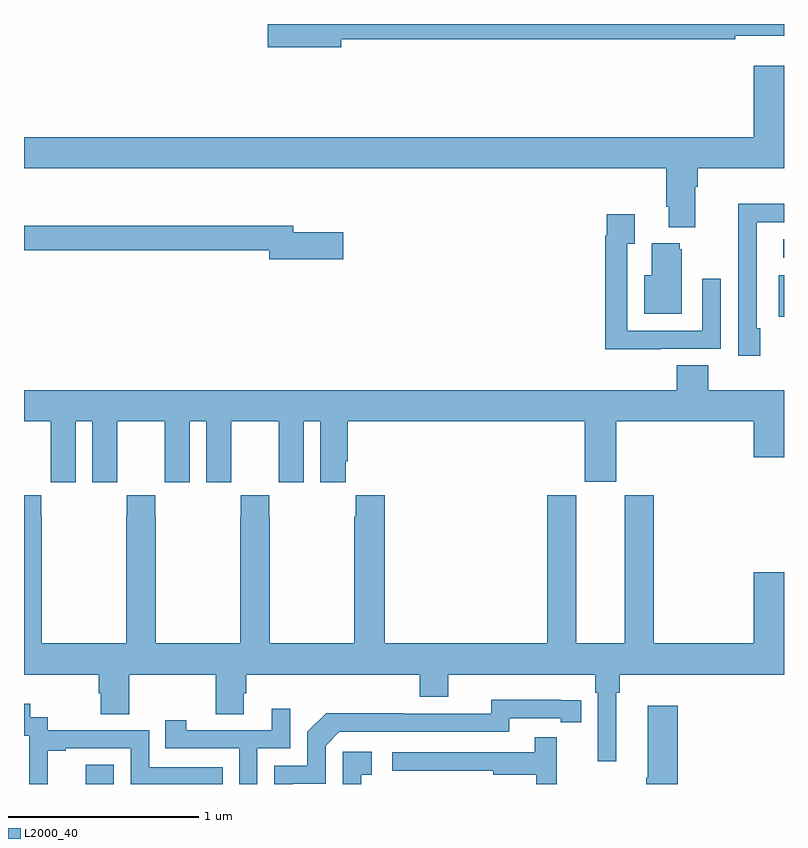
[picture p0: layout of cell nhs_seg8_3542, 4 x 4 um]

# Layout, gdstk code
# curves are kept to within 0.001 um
import gdstk
lib = gdstk.Library(unit=1e-6, precision=1e-09)
def R(c, l, rs):  # rectangles x0, y0, x1, y1
    for r in rs: c.add(gdstk.rectangle(r[:2], r[2:], *l))
def P(c, l, *ps):  # polygons
    for p in ps: c.add(gdstk.Polygon(p, *l))
L2000_40 = (2000, 40)

nhs_seg8_3542 = lib.new_cell('nhs_seg8_3542')
R(nhs_seg8_3542, L2000_40, [(329.325,1139.9,329.472,1140.001), (332.972,1142.359,333,1142.578), (332.997,1142.67,333,1142.766)])
P(nhs_seg8_3542, L2000_40, [(330.67,1143.82),(332.744,1143.82),(332.744,1143.839),(333,1143.839),(333,1143.9),(330.282,1143.9),(330.282,1143.778),(330.67,1143.778)],
  [(332.533,1143.044),(332.546,1143.044),(332.546,1143.14),(333,1143.14),(333,1143.679),(332.84,1143.679),(332.84,1143.304),(329,1143.304),(329,1143.14),(332.381,1143.14),(332.381,1142.938),(332.393,1142.938),(332.393,1142.831),(332.533,1142.831)],
  [(332.875,1142.298),(332.856,1142.298),(332.856,1142.856),(333,1142.856),(333,1142.954),(332.758,1142.954),(332.758,1142.647),(332.76,1142.647),(332.76,1142.154),(332.875,1142.154)],
  [(332.351,1142.19),(332.667,1142.19),(332.667,1142.56),(332.571,1142.56),(332.571,1142.286),(332.175,1142.286),(332.175,1142.743),(332.215,1142.743),(332.215,1142.899),(332.067,1142.899),(332.067,1142.786),(332.059,1142.786),(332.059,1142.189),(332.351,1142.189)],
  [(330.679,1142.805),(330.418,1142.805),(330.418,1142.839),(329,1142.839),(329,1142.71),(330.29,1142.71),(330.29,1142.663),(330.679,1142.663)],
  [(332.461,1142.715),(332.45,1142.715),(332.45,1142.746),(332.303,1142.746),(332.303,1142.578),(332.264,1142.578),(332.264,1142.375),(332.461,1142.375)],
  [(329.272,1141.808),(329.36,1141.808),(329.36,1141.488),(329.49,1141.488),(329.49,1141.6),(329.491,1141.6),(329.491,1141.808),(329.741,1141.808),(329.741,1141.6),(329.742,1141.6),(329.742,1141.488),(329.872,1141.488),(329.872,1141.808),(329.96,1141.808),(329.96,1141.488),(330.09,1141.488),(330.09,1141.6),(330.091,1141.6),(330.091,1141.808),(330.341,1141.808),(330.341,1141.6),(330.342,1141.6),(330.342,1141.488),(330.472,1141.488),(330.472,1141.808),(330.56,1141.808),(330.56,1141.488),(330.694,1141.488),(330.694,1141.6),(330.704,1141.6),(330.704,1141.808),(331.952,1141.808),(331.952,1141.491),(332.116,1141.491),(332.116,1141.808),(332.84,1141.808),(332.84,1141.62),(333,1141.62),(333,1141.972),(332.6,1141.972),(332.6,1142.105),(332.435,1142.105),(332.435,1141.972),(329,1141.972),(329,1141.808),(329.141,1141.808),(329.141,1141.6),(329.142,1141.6),(329.142,1141.488),(329.272,1141.488)],
  [(332.116,1140.38),(332.135,1140.38),(332.135,1140.476),(333,1140.476),(333,1141.015),(332.84,1141.015),(332.84,1140.64),(332.315,1140.64),(332.315,1141.419),(332.162,1141.419),(332.162,1140.64),(331.906,1140.64),(331.906,1141.419),(331.754,1141.419),(331.754,1140.64),(330.899,1140.64),(330.899,1141.42),(330.745,1141.42),(330.745,1141.307),(330.739,1141.307),(330.739,1140.64),(330.294,1140.64),(330.294,1141.307),(330.291,1141.307),(330.291,1141.42),(330.141,1141.42),(330.141,1141.307),(330.139,1141.307),(330.139,1140.64),(329.694,1140.64),(329.694,1141.307),(329.691,1141.307),(329.691,1141.42),(329.541,1141.42),(329.541,1141.307),(329.539,1141.307),(329.539,1140.64),(329.094,1140.64),(329.094,1141.307),(329.091,1141.307),(329.091,1141.42),(329,1141.42),(329,1140.476),(329.393,1140.476),(329.393,1140.378),(329.405,1140.378),(329.405,1140.268),(329.553,1140.268),(329.553,1140.476),(330.01,1140.476),(330.01,1140.268),(330.157,1140.268),(330.157,1140.378),(330.17,1140.378),(330.17,1140.476),(331.082,1140.476),(331.082,1140.359),(331.234,1140.359),(331.234,1140.476),(332.006,1140.476),(332.006,1140.38),(332.019,1140.38),(332.019,1140.021),(332.116,1140.021)],
  [(330.415,1139.901),(330.588,1139.901),(330.588,1140.102),(330.66,1140.174),(331.554,1140.174),(331.554,1140.246),(331.826,1140.246),(331.826,1140.226),(331.934,1140.226),(331.934,1140.342),(331.458,1140.343),(331.458,1140.27),(330.998,1140.27),(330.998,1140.272),(330.59,1140.272),(330.492,1140.174),(330.492,1139.997),(330.318,1139.997),(330.318,1139.9)],
  [(329.126,1140.075),(329.221,1140.075),(329.221,1140.087),(329.562,1140.087),(329.562,1139.9),(330.047,1139.9),(330.047,1139.988),(329.658,1139.988),(329.658,1140.183),(329.124,1140.183),(329.124,1140.252),(329.032,1140.252),(329.032,1140.322),(329,1140.322),(329,1140.153),(329.028,1140.153),(329.028,1139.924),(329.027,1139.924),(329.027,1139.9),(329.126,1139.9)],
  [(332.441,1140.313),(332.282,1140.313),(332.282,1139.933),(332.275,1139.933),(332.275,1139.9),(332.441,1139.9)],
  [(330.228,1140.087),(330.402,1140.087),(330.402,1140.295),(330.305,1140.295),(330.305,1140.183),(329.854,1140.183),(329.854,1140.235),(329.743,1140.235),(329.743,1140.087),(330.132,1140.087),(330.132,1139.9),(330.228,1139.9)],
  [(331.805,1140.145),(331.687,1140.145),(331.687,1140.066),(330.939,1140.066),(330.939,1139.97),(331.471,1139.97),(331.471,1139.95),(331.695,1139.95),(331.695,1139.9),(331.805,1139.9)],
  [(330.776,1139.949),(330.829,1139.949),(330.829,1140.07),(330.678,1140.07),(330.678,1139.9),(330.776,1139.9)])

lib.write_gds('nhs_seg8_3542.gds')
